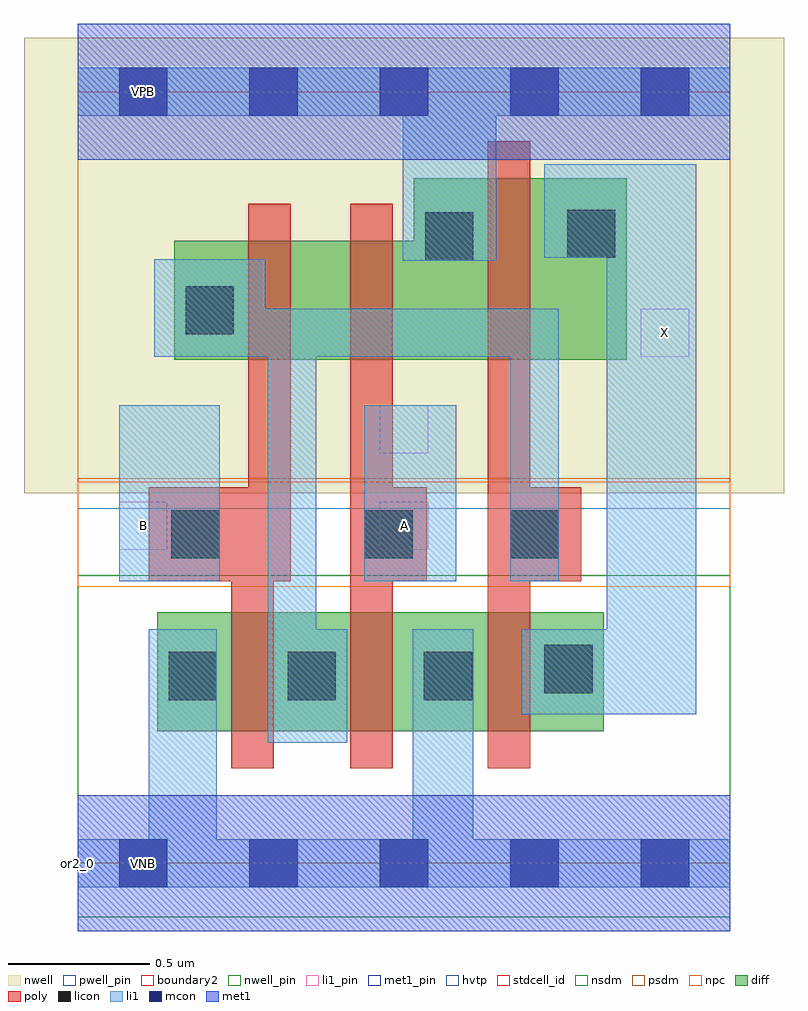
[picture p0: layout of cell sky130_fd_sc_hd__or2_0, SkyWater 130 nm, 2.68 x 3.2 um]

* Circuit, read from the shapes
.subckt sky130_fd_sc_hd__or2_0 A B VGND VNB VPB VPWR X
XM1 n1 B VGND VNB sky130_fd_pr__nfet_01v8 w=0.42 l=0.15
XM2 VGND A n1 VNB sky130_fd_pr__nfet_01v8 w=0.42 l=0.15
XM3 X n1 VGND VNB sky130_fd_pr__nfet_01v8 w=0.42 l=0.15
XM4 n2 B n1 VPB sky130_fd_pr__pfet_01v8_hvt w=0.42 l=0.15
XM5 VPWR A n2 VPB sky130_fd_pr__pfet_01v8_hvt w=0.42 l=0.15
XM6 X n1 VPWR VPB sky130_fd_pr__pfet_01v8_hvt w=0.64 l=0.15
.ends

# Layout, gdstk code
import gdstk
lib = gdstk.Library(unit=1e-6, precision=1e-09)
def R(c, l, rs):  # rectangles x0, y0, x1, y1
    for r in rs: c.add(gdstk.rectangle(r[:2], r[2:], *l))
def A(c, l, x, y, w, h, nx, ny, dx, dy):  # array of equal rectangles
    R(c, l, [(x+i*dx, y+j*dy, x+i*dx+w, y+j*dy+h) for i in range(nx) for j in range(ny)])
def P(c, l, *ps):  # polygons
    for p in ps: c.add(gdstk.Polygon(p, *l))
nwell_pin = (64, 16)
nwell = (64, 20)
diff = (65, 20)
poly = (66, 20)
licon = (66, 44)
li1_pin = (67, 16)
li1 = (67, 20)
mcon = (67, 44)
met1_pin = (68, 16)
met1 = (68, 20)
hvtp = (78, 44)
stdcell_id = (81, 4)
nsdm = (93, 44)
psdm = (94, 20)
npc = (95, 20)
pwell_pin = (122, 16)
boundary2 = (236, 0)

sky130_fd_sc_hd__or2_0 = lib.new_cell('sky130_fd_sc_hd__or2_0')
R(sky130_fd_sc_hd__or2_0, nwell_pin, [(0.145,2.635,0.315,2.805)])
R(sky130_fd_sc_hd__or2_0, nwell, [(-0.19,1.305,2.49,2.91)])
R(sky130_fd_sc_hd__or2_0, diff, [(0.28,0.465,1.855,0.885)])
P(sky130_fd_sc_hd__or2_0, diff, [(1.935,2.415),(1.185,2.415),(1.185,2.195),(0.34,2.195),(0.34,1.775),(1.935,1.775)])
P(sky130_fd_sc_hd__or2_0, poly, [(0.75,2.325),(0.6,2.325),(0.6,1.325),(0.25,1.325),(0.25,0.995),(0.54,0.995),(0.54,0.335),(0.69,0.335),(0.69,0.995),(0.75,0.995)],
  [(1.775,1.325),(1.595,1.325),(1.595,2.545),(1.445,2.545),(1.445,0.335),(1.595,0.335),(1.595,0.995),(1.775,0.995)],
  [(1.23,1.325),(1.11,1.325),(1.11,2.325),(0.96,2.325),(0.96,0.335),(1.11,0.335),(1.11,0.995),(1.23,0.995)])
R(sky130_fd_sc_hd__or2_0, licon, [(0.32,0.575,0.49,0.745), (0.74,0.575,0.91,0.745), (1.22,0.575,1.39,0.745), (1.645,0.6,1.815,0.77), (0.33,1.075,0.5,1.245), (1.01,1.075,1.18,1.245), (1.525,1.075,1.695,1.245), (0.38,1.865,0.55,2.035), (1.225,2.125,1.395,2.295), (1.725,2.135,1.895,2.305)])
R(sky130_fd_sc_hd__or2_0, li1_pin, [(0.145,1.105,0.315,1.275), (1.065,1.105,1.235,1.275), (1.065,1.445,1.235,1.615), (1.985,1.785,2.155,1.955)])
R(sky130_fd_sc_hd__or2_0, li1, [(0.145,0.995,0.5,1.615), (1.01,0.995,1.335,1.615)])
P(sky130_fd_sc_hd__or2_0, li1, [(2.3,2.805),(0,2.805),(0,2.635),(1.145,2.635),(1.145,2.125),(1.475,2.125),(1.475,2.635),(2.3,2.635)],
  [(2.18,2.465),(1.645,2.465),(1.645,2.135),(1.865,2.135),(1.865,0.825),(1.565,0.825),(1.565,0.525),(2.18,0.525)],
  [(2.3,0.085),(1.395,0.085),(1.395,0.825),(1.18,0.825),(1.18,0.085),(0.49,0.085),(0.49,0.825),(0.25,0.825),(0.25,0.085),(0,0.085),(0,-0.085),(2.3,-0.085)],
  [(1.695,1.955),(0.66,1.955),(0.66,2.13),(0.27,2.13),(0.27,1.785),(0.67,1.785),(0.67,0.425),(0.95,0.425),(0.95,0.825),(0.84,0.825),(0.84,1.785),(1.525,1.785),(1.525,0.995),(1.695,0.995)])
A(sky130_fd_sc_hd__or2_0, mcon, 0.145, -0.085, 0.17, 0.17, 5, 2, 0.46, 2.72)
R(sky130_fd_sc_hd__or2_0, met1_pin, [(0.145,-0.085,0.315,0.085), (0.145,2.635,0.315,2.805)])
R(sky130_fd_sc_hd__or2_0, hvtp, [(0,1.25,2.3,2.72)])
R(sky130_fd_sc_hd__or2_0, stdcell_id, [(0,0,2.3,2.72)])
R(sky130_fd_sc_hd__or2_0, nsdm, [(0,-0.19,2.3,1.015)])
R(sky130_fd_sc_hd__or2_0, psdm, [(0,1.355,2.3,2.91)])
R(sky130_fd_sc_hd__or2_0, npc, [(0,0.975,2.3,1.345)])
R(sky130_fd_sc_hd__or2_0, pwell_pin, [(0.145,-0.085,0.315,0.085)])
R(sky130_fd_sc_hd__or2_0, boundary2, [(0,0,2.3,2.72)])
sky130_fd_sc_hd__or2_0.add(gdstk.FlexPath([(0,2.72),(2.3,2.72)], 0.48, ends="flush", simple_path=True, layer=68, datatype=20))  # met1
sky130_fd_sc_hd__or2_0.add(gdstk.FlexPath([(0,0),(2.3,0)], 0.48, ends="flush", simple_path=True, layer=68, datatype=20))  # met1
sky130_fd_sc_hd__or2_0.add(gdstk.Label('A', (1.15,1.19), layer=67, texttype=5))
sky130_fd_sc_hd__or2_0.add(gdstk.Label('X', (2.07,1.87), layer=67, texttype=5))
sky130_fd_sc_hd__or2_0.add(gdstk.Label('B', (0.23,1.19), layer=67, texttype=5))
sky130_fd_sc_hd__or2_0.add(gdstk.Label('VNB', (0.23,0), layer=64, texttype=59))
sky130_fd_sc_hd__or2_0.add(gdstk.Label('VPB', (0.23,2.72), layer=64, texttype=5))
sky130_fd_sc_hd__or2_0.add(gdstk.Label('VGND', (0.23,0), layer=68, texttype=5))
sky130_fd_sc_hd__or2_0.add(gdstk.Label('VPWR', (0.23,2.72), layer=68, texttype=5))
sky130_fd_sc_hd__or2_0.add(gdstk.Label('or2_0', (0,0), layer=83, texttype=44))

lib.write_gds('sky130_fd_sc_hd__or2_0.gds')
